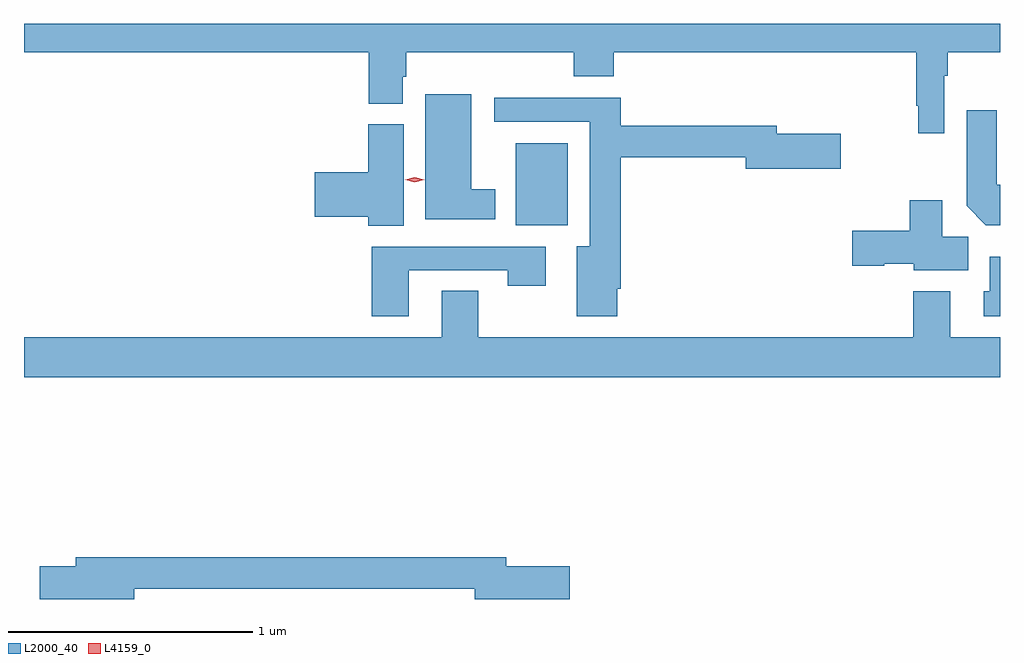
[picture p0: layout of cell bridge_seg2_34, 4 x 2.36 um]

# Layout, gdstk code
import gdstk
lib = gdstk.Library(unit=1e-6, precision=1e-09)
def R(c, l, rs):  # rectangles x0, y0, x1, y1
    for r in rs: c.add(gdstk.rectangle(r[:2], r[2:], *l))
def P(c, l, *ps):  # polygons
    for p in ps: c.add(gdstk.Polygon(p, *l))
L2000_40 = (2000, 40)
L4159_0 = (4159, 0)

bridge_seg2_34 = lib.new_cell('bridge_seg2_34')
R(bridge_seg2_34, L2000_40, [(666.344,665.576,666.556,665.911)])
P(bridge_seg2_34, L2000_40, [(668.1,666.188),(668.113,666.188),(668.113,666.284),(668.328,666.284),(668.328,666.4),(664.328,666.4),(664.328,666.284),(665.741,666.284),(665.741,666.073),(665.881,666.073),(665.881,666.183),(665.894,666.183),(665.894,666.284),(666.581,666.284),(666.581,666.185),(666.746,666.185),(666.746,666.284),(667.984,666.284),(667.984,666.064),(667.992,666.064),(667.992,665.952),(668.1,665.952)],
  [(666.259,665.722),(666.16,665.722),(666.16,666.112),(665.972,666.112),(665.972,665.6),(666.259,665.6)],
  [(666.76,665.314),(666.773,665.314),(666.773,665.854),(667.286,665.854),(667.286,665.807),(667.675,665.807),(667.675,665.949),(667.414,665.949),(667.414,665.983),(666.773,665.983),(666.773,666.098),(666.255,666.098),(666.255,666),(666.647,666),(666.647,665.488),(666.593,665.488),(666.593,665.202),(666.76,665.202)],
  [(668.328,665.74),(668.314,665.74),(668.314,666.046),(668.192,666.046),(668.192,665.654),(668.27,665.576),(668.328,665.576)],
  [(665.884,665.988),(665.738,665.988),(665.738,665.792),(665.52,665.792),(665.52,665.609),(665.738,665.609),(665.738,665.572),(665.884,665.572)],
  [(668.197,665.528),(668.092,665.528),(668.092,665.677),(667.958,665.677),(667.958,665.552),(667.722,665.552),(667.722,665.41),(667.854,665.41),(667.854,665.417),(667.974,665.417),(667.974,665.39),(668.197,665.39)],
  [(665.905,665.391),(666.31,665.391),(666.31,665.328),(666.466,665.328),(666.466,665.487),(665.753,665.487),(665.753,665.202),(665.905,665.202)],
  [(668.328,665.446),(668.285,665.446),(668.285,665.304),(668.261,665.304),(668.261,665.202),(668.328,665.202)],
  [(668.328,665.116),(668.125,665.116),(668.125,665.305),(667.973,665.305),(667.973,665.116),(666.189,665.116),(666.189,665.306),(666.041,665.306),(666.041,665.116),(664.328,665.116),(664.328,664.952),(668.328,664.952)],
  [(664.78,664.086),(666.176,664.086),(666.176,664.043),(666.565,664.043),(666.565,664.178),(666.304,664.178),(666.304,664.214),(664.541,664.214),(664.541,664.178),(664.392,664.178),(664.392,664.043),(664.78,664.043)])
P(bridge_seg2_34, L4159_0, [(665.929,665.752),(665.89,665.762),(665.89,665.762),(665.89,665.762),(665.929,665.772),(665.968,665.762),(665.968,665.762),(665.968,665.762)])

lib.write_gds('bridge_seg2_34.gds')
